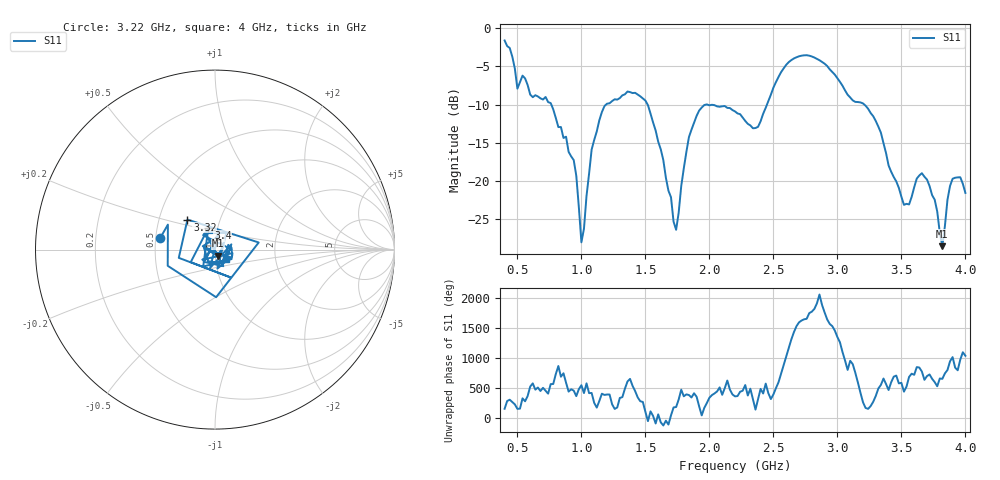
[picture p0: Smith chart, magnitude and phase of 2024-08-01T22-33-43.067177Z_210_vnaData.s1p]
!Created with skrf (http://scikit-rf.org).
# Hz S RI R 50.0
!freq ReS11 ImS11
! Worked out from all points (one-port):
!   181 points, 400 MHz to 4 GHz, reference 50 ohm
!   lowest |S11| = -28.5 dB at 3.82 GHz (marker M1), VSWR 1.08, Z = 51.4 - j3.52 ohm
!   |S11| at or under -10 dB: 1.518 GHz to 1.973 GHz (455.9 MHz wide, 26.1 % of centre); 1.984 GHz to 2.45 GHz (465.3 MHz wide, 21 % of centre); 3.211 GHz to end of sweep (the widest 3 of 4)
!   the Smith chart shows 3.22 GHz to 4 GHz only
!   S11 on the Smith chart (normalised r, x): 3.22 GHz: 0.53, +0.08; 3.32 GHz: 0.70, +0.25; 3.4 GHz: 0.90, +0.22; 4 GHz: 1.13, -0.12
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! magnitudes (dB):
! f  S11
! 400 MHz  -1.6
! 500 MHz  -7.9
! 720 MHz  -9.0
! 860 MHz  -14.4
! 940 MHz  -17.3
! 1 GHz  -28.0
! 1.08 GHz  -15.9
! 1.14 GHz  -12.0
! 1.3 GHz  -9.1
! 1.52 GHz  -10.1
! 1.72 GHz  -25.3
! 1.76 GHz  -24.2
! 1.84 GHz  -14.3
! 1.92 GHz  -10.8
! 2.2 GHz  -10.9
! 2.38 GHz  -12.9
! 2.66 GHz  -4.0
! 2.9 GHz  -4.6
! 3.1 GHz  -9.1
! 3.22 GHz  -10.1
! 3.32 GHz  -12.9
! 3.4 GHz  -18.0
! 3.56 GHz  -23.1
! 3.62 GHz  -19.7
! 3.7 GHz  -19.8
! 3.82 GHz  -28.5
! 3.9 GHz  -19.7
! 4 GHz  -21.6
